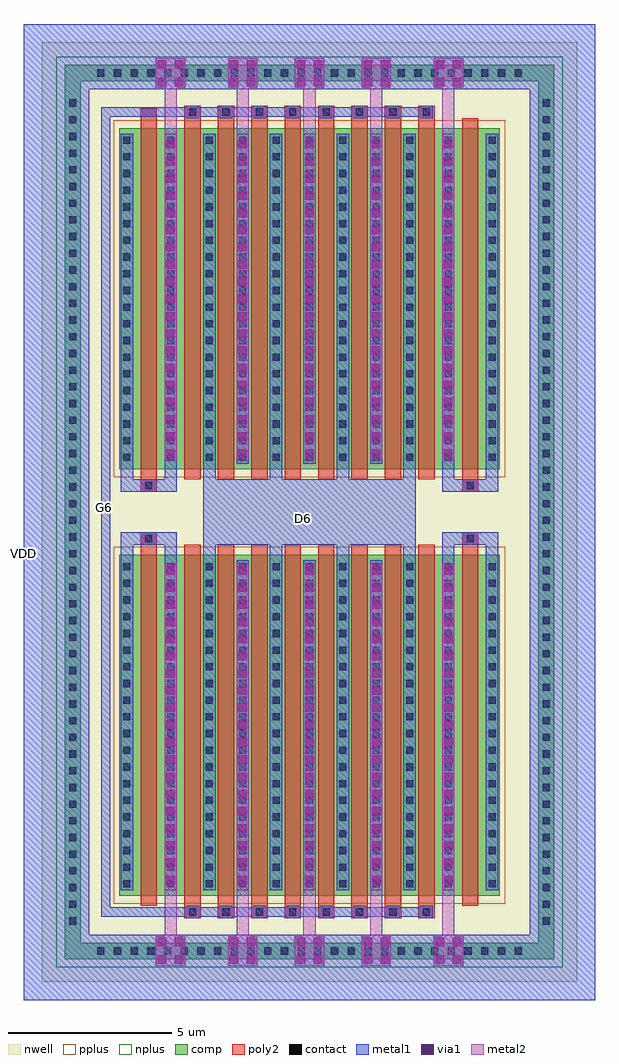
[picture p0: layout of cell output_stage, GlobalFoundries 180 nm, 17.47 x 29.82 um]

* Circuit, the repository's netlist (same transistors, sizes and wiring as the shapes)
** sch_path: /foss/designs/creactive-chipathon-2025/designs/libs/core_ota/output_stage/output_stage.sch
.subckt output_stage D6 VDD G6
*.PININFO VDD:B G6:I D6:O
M6 D6 G6 VDD VDD pfet_03v3 L=0.5u W=10.43u nf=1 m=16
M1 VDD VDD VDD VDD pfet_03v3 L=0.5u W=10.43u nf=1 m=4
.ends

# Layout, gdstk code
import gdstk
lib = gdstk.Library(unit=1e-6, precision=5e-09)
def R(c, l, rs):  # rectangles x0, y0, x1, y1
    for r in rs: c.add(gdstk.rectangle(r[:2], r[2:], *l))
def A(c, l, x, y, w, h, nx, ny, dx, dy):  # array of equal rectangles
    R(c, l, [(x+i*dx, y+j*dy, x+i*dx+w, y+j*dy+h) for i in range(nx) for j in range(ny)])
nwell = (21, 0)
comp = (22, 0)
poly2 = (30, 0)
pplus = (31, 0)
nplus = (32, 0)
contact = (33, 0)
metal1 = (34, 0)
via1 = (35, 0)
metal2 = (36, 0)

pfet_2 = lib.new_cell('pfet$2')
R(pfet_2, nwell, [(-0.9,-0.44,1.78,10.87)])
R(pfet_2, comp, [(-0.46,0,0,10.43), (0,0,0.88,10.43), (0.88,0,1.34,10.43)])
R(pfet_2, poly2, [(0.19,-0.3,0.69,10.73), (0.19,10.73,0.69,11.11)])
R(pfet_2, pplus, [(-0.63,-0.24,1.51,10.67)])
A(pfet_2, contact, -0.34, 0.26, 0.22, 0.22, 1, 20, 0, 0.51)
A(pfet_2, contact, 1, 0.26, 0.22, 0.22, 1, 20, 0, 0.51)
R(pfet_2, contact, [(0.33,10.81,0.55,11.03)])
R(pfet_2, metal1, [(-0.42,0.18,-0.04,10.25), (0.92,0.18,1.3,10.25), (0.25,10.73,0.63,11.11)])

pfet_1 = lib.new_cell('pfet$1')
R(pfet_1, nwell, [(-0.9,-0.44,8.92,10.87)])
R(pfet_1, comp, [(-0.46,0,0,10.43), (0,0,8.02,10.43), (8.02,0,8.48,10.43)])
A(pfet_1, poly2, 0.19, -0.3, 0.5, 11.03, 8, 1, 1.02, 0)
A(pfet_1, poly2, 0.19, 10.73, 0.5, 0.38, 8, 1, 1.02, 0)
R(pfet_1, pplus, [(-0.63,-0.24,8.65,10.67)])
A(pfet_1, contact, -0.34, 0.26, 0.22, 0.22, 1, 20, 0, 0.51)
A(pfet_1, contact, 0.84, 0.26, 0.22, 0.22, 7, 20, 1.02, 0.51)
A(pfet_1, contact, 8.14, 0.26, 0.22, 0.22, 1, 20, 0, 0.51)
A(pfet_1, contact, 0.33, 10.81, 0.22, 0.22, 8, 1, 1.02, 0)
A(pfet_1, metal1, 0.76, 0.18, 0.38, 10.07, 7, 1, 1.02, 0)
A(pfet_1, metal1, 0.25, 10.73, 0.38, 0.38, 8, 1, 1.02, 0)
R(pfet_1, metal1, [(-0.42,0.18,-0.04,10.25), (8.06,0.18,8.44,10.25)])

output_stage = lib.new_cell('output_stage')
R(output_stage, nwell, [(0.56,0.56,16.91,29.26)])
R(output_stage, poly2, [(3.575,26.94,4.075,27.25)])
A(output_stage, contact, 2.25, 1.39, 0.22, 0.22, 26, 2, 0.51, 26.82)
A(output_stage, contact, 1.39, 2.305, 0.22, 0.22, 1, 50, 0, 0.51)
A(output_stage, contact, 15.86, 2.305, 0.22, 0.22, 1, 50, 0, 0.51)
A(output_stage, via1, 6.565, 3.54, 0.26, 0.26, 3, 2, 2.04, 0.535)
A(output_stage, via1, 4.365, 4.075, 0.26, 0.26, 1, 3, 0, 0.52)
A(output_stage, via1, 12.845, 4.075, 0.26, 0.26, 1, 3, 0, 0.52)
A(output_stage, via1, 6.565, 4.595, 0.26, 0.26, 3, 2, 2.04, 0.52)
A(output_stage, via1, 4.365, 5.65, 0.26, 0.26, 1, 3, 0, 0.52)
A(output_stage, via1, 6.565, 5.65, 0.26, 0.26, 3, 3, 2.04, 0.52)
A(output_stage, via1, 12.845, 5.65, 0.26, 0.26, 1, 3, 0, 0.52)
A(output_stage, via1, 4.365, 7.225, 0.26, 0.26, 1, 3, 0, 0.52)
A(output_stage, via1, 6.565, 7.225, 0.26, 0.26, 3, 3, 2.04, 0.52)
A(output_stage, via1, 12.845, 7.225, 0.26, 0.26, 1, 3, 0, 0.52)
A(output_stage, via1, 4.365, 8.8, 0.26, 0.26, 1, 3, 0, 0.52)
A(output_stage, via1, 6.565, 8.8, 0.26, 0.26, 3, 3, 2.04, 0.52)
A(output_stage, via1, 12.845, 8.8, 0.26, 0.26, 1, 3, 0, 0.52)
A(output_stage, via1, 4.365, 10.375, 0.26, 0.26, 1, 3, 0, 0.52)
A(output_stage, via1, 6.565, 10.375, 0.26, 0.26, 3, 3, 2.04, 0.52)
A(output_stage, via1, 12.845, 10.375, 0.26, 0.26, 1, 3, 0, 0.52)
A(output_stage, via1, 4.365, 11.95, 0.26, 0.26, 1, 3, 0, 0.52)
A(output_stage, via1, 6.565, 11.95, 0.26, 0.26, 3, 3, 2.04, 0.52)
A(output_stage, via1, 12.845, 11.95, 0.26, 0.26, 1, 3, 0, 0.52)
A(output_stage, via1, 4.36, 16.57, 0.26, 0.26, 1, 3, 0, 0.52)
A(output_stage, via1, 6.56, 16.57, 0.26, 0.26, 3, 3, 2.04, 0.52)
A(output_stage, via1, 12.84, 16.57, 0.26, 0.26, 1, 3, 0, 0.52)
A(output_stage, via1, 4.36, 18.145, 0.26, 0.26, 1, 3, 0, 0.52)
A(output_stage, via1, 6.56, 18.145, 0.26, 0.26, 3, 3, 2.04, 0.52)
A(output_stage, via1, 12.84, 18.145, 0.26, 0.26, 1, 3, 0, 0.52)
A(output_stage, via1, 4.36, 19.72, 0.26, 0.26, 1, 3, 0, 0.52)
A(output_stage, via1, 6.56, 19.72, 0.26, 0.26, 3, 3, 2.04, 0.52)
A(output_stage, via1, 12.84, 19.72, 0.26, 0.26, 1, 3, 0, 0.52)
A(output_stage, via1, 4.36, 21.295, 0.26, 0.26, 1, 3, 0, 0.52)
A(output_stage, via1, 6.56, 21.295, 0.26, 0.26, 3, 3, 2.04, 0.52)
A(output_stage, via1, 12.84, 21.295, 0.26, 0.26, 1, 3, 0, 0.52)
A(output_stage, via1, 4.36, 22.87, 0.26, 0.26, 1, 3, 0, 0.52)
A(output_stage, via1, 6.56, 22.87, 0.26, 0.26, 3, 3, 2.04, 0.52)
A(output_stage, via1, 12.84, 22.87, 0.26, 0.26, 1, 3, 0, 0.52)
A(output_stage, via1, 4.36, 24.445, 0.26, 0.26, 1, 3, 0, 0.52)
A(output_stage, via1, 6.56, 24.445, 0.26, 0.26, 3, 3, 2.04, 0.52)
A(output_stage, via1, 12.84, 24.445, 0.26, 0.26, 1, 3, 0, 0.52)
A(output_stage, via1, 6.56, 26.02, 0.26, 0.26, 3, 1, 2.04, 0)
R(output_stage, via1, [(4.105,1.105,4.365,1.365), (4.625,1.105,4.885,1.365), (6.305,1.105,6.565,1.365), (6.305,1.105,6.565,1.365), (6.825,1.105,7.085,1.365), (6.825,1.105,7.085,1.365), (8.345,1.105,8.605,1.365), (8.345,1.105,8.605,1.365), (8.865,1.105,9.125,1.365), (8.865,1.105,9.125,1.365), (10.385,1.105,10.645,1.365), (10.385,1.105,10.645,1.365), (10.905,1.105,11.165,1.365), (10.905,1.105,11.165,1.365), (12.585,1.105,12.845,1.365), (12.585,1.105,12.845,1.365), (13.105,1.105,13.365,1.365), (13.105,1.105,13.365,1.365), (4.105,1.635,4.365,1.895), (4.625,1.635,4.885,1.895), (6.305,1.635,6.565,1.895), (6.305,1.635,6.565,1.895), (6.825,1.635,7.085,1.895), (6.825,1.635,7.085,1.895), (8.345,1.635,8.605,1.895), (8.345,1.635,8.605,1.895), (8.865,1.635,9.125,1.895), (8.865,1.635,9.125,1.895), (10.385,1.635,10.645,1.895), (10.385,1.635,10.645,1.895), (10.905,1.635,11.165,1.895), (10.905,1.635,11.165,1.895), (12.585,1.635,12.845,1.895), (12.585,1.635,12.845,1.895), (13.105,1.635,13.365,1.895), (13.105,1.635,13.365,1.895), (4.365,3.54,4.625,3.8), (12.845,3.54,13.105,3.8), (4.36,26.02,4.62,26.28), (12.84,26.02,13.1,26.28), (4.105,27.925,4.365,28.185), (4.105,27.925,4.365,28.185), (4.625,27.925,4.885,28.185), (4.625,27.925,4.885,28.185), (6.305,27.925,6.565,28.185), (6.305,27.925,6.565,28.185), (6.825,27.925,7.085,28.185), (6.825,27.925,7.085,28.185), (8.345,27.925,8.605,28.185), (8.345,27.925,8.605,28.185), (8.865,27.925,9.125,28.185), (8.865,27.925,9.125,28.185), (10.385,27.925,10.645,28.185), (10.385,27.925,10.645,28.185), (10.905,27.925,11.165,28.185), (10.905,27.925,11.165,28.185), (12.585,27.925,12.845,28.185), (12.585,27.925,12.845,28.185), (13.105,27.925,13.365,28.185), (13.105,27.925,13.365,28.185), (4.105,28.455,4.365,28.715), (4.105,28.455,4.365,28.715), (4.625,28.455,4.885,28.715), (4.625,28.455,4.885,28.715), (6.305,28.455,6.565,28.715), (6.305,28.455,6.565,28.715), (6.825,28.455,7.085,28.715), (6.825,28.455,7.085,28.715), (8.345,28.455,8.605,28.715), (8.345,28.455,8.605,28.715), (8.865,28.455,9.125,28.715), (8.865,28.455,9.125,28.715), (10.385,28.455,10.645,28.715), (10.385,28.455,10.645,28.715), (10.905,28.455,11.165,28.715), (10.905,28.455,11.165,28.715), (12.585,28.455,12.845,28.715), (12.585,28.455,12.845,28.715), (13.105,28.455,13.365,28.715), (13.105,28.455,13.365,28.715)])
A(output_stage, metal2, 6.245, 1.045, 0.9, 0.91, 3, 2, 2.04, 26.82)
A(output_stage, metal2, 6.295, 1.095, 0.8, 0.81, 3, 2, 2.04, 26.82)
R(output_stage, metal2, [(4.045,1.045,4.945,1.955), (12.525,1.045,13.425,1.955), (12.575,1.095,13.375,1.905), (4.045,27.865,4.945,28.775), (12.525,27.865,13.425,28.775), (4.095,27.915,4.895,28.725), (12.575,27.915,13.375,28.725)])
output_stage.add(gdstk.FlexPath([(3.155,16.39),(3.155,15.72),(4.495,15.72),(4.495,16.39)], 0.38, ends="flush", simple_path=True, layer=34, datatype=0))  # metal1
output_stage.add(gdstk.FlexPath([(3.155,13.43),(3.155,14.1),(4.495,14.1),(4.495,13.43)], 0.38, ends="flush", simple_path=True, layer=34, datatype=0))  # metal1
output_stage.add(gdstk.FlexPath([(12.975,16.39),(12.975,15.72),(14.315,15.72),(14.315,16.39)], 0.38, ends="flush", simple_path=True, layer=34, datatype=0))  # metal1
output_stage.add(gdstk.FlexPath([(12.975,13.43),(12.975,14.1),(14.315,14.1),(14.315,13.43)], 0.38, ends="flush", simple_path=True, layer=34, datatype=0))  # metal1
output_stage.add(gdstk.FlexPath([(2,28.82),(16.47,28.82),(16.47,1),(1,1),(1,29.82)], 2, ends="flush", simple_path=True, layer=34, datatype=0))  # metal1
output_stage.add(gdstk.FlexPath([(12.495,27.13),(2.505,27.13),(2.505,2.69),(12.415,2.69)], 0.28, ends="flush", simple_path=True, layer=34, datatype=0))  # metal1
output_stage.add(gdstk.FlexPath([(7.715,15.91),(7.715,16.39)], 0.38, ends="flush", simple_path=True, layer=34, datatype=0))  # metal1
output_stage.add(gdstk.FlexPath([(11.795,15.91),(11.795,16.39)], 0.38, ends="flush", simple_path=True, layer=34, datatype=0))  # metal1
output_stage.add(gdstk.FlexPath([(5.675,15.91),(5.675,16.39)], 0.38, ends="flush", simple_path=True, layer=34, datatype=0))  # metal1
output_stage.add(gdstk.FlexPath([(9.755,15.91),(9.755,16.39)], 0.38, ends="flush", simple_path=True, layer=34, datatype=0))  # metal1
output_stage.add(gdstk.FlexPath([(7.715,13.43),(7.715,13.91)], 0.38, ends="flush", simple_path=True, layer=34, datatype=0))  # metal1
output_stage.add(gdstk.FlexPath([(11.795,13.43),(11.795,13.91)], 0.38, ends="flush", simple_path=True, layer=34, datatype=0))  # metal1
output_stage.add(gdstk.FlexPath([(5.675,13.43),(5.675,13.91)], 0.38, ends="flush", simple_path=True, layer=34, datatype=0))  # metal1
output_stage.add(gdstk.FlexPath([(9.755,13.43),(9.755,13.91)], 0.38, ends="flush", simple_path=True, layer=34, datatype=0))  # metal1
output_stage.add(gdstk.FlexPath([(5.485,14.91),(11.985,14.91)], 2, ends="flush", simple_path=True, layer=34, datatype=0))  # metal1
output_stage.add(gdstk.FlexPath([(1.75,28.32),(15.97,28.32),(15.97,1.5),(1.5,1.5),(1.5,28.57)], 0.5, ends="flush", simple_path=True, layer=22, datatype=0))  # comp
output_stage.add(gdstk.FlexPath([(2,28.32),(15.97,28.32),(15.97,1.5),(1.5,1.5),(1.5,28.82)], 1, ends="flush", simple_path=True, layer=32, datatype=0))  # nplus
output_stage.add(gdstk.FlexPath([(4.495,13.33),(4.495,1.955)], 0.38, ends="flush", simple_path=True, layer=36, datatype=0))  # metal2
output_stage.add(gdstk.FlexPath([(12.975,13.33),(12.975,1.905)], 0.38, ends="flush", simple_path=True, layer=36, datatype=0))  # metal2
output_stage.add(gdstk.FlexPath([(10.775,13.33),(10.775,1.905)], 0.38, ends="flush", simple_path=True, layer=36, datatype=0))  # metal2
output_stage.add(gdstk.FlexPath([(12.975,27.915),(12.975,16.49)], 0.38, ends="flush", simple_path=True, layer=36, datatype=0))  # metal2
output_stage.add(gdstk.FlexPath([(6.695,13.33),(6.695,1.905)], 0.38, ends="flush", simple_path=True, layer=36, datatype=0))  # metal2
output_stage.add(gdstk.FlexPath([(8.735,13.33),(8.735,1.905)], 0.38, ends="flush", simple_path=True, layer=36, datatype=0))  # metal2
output_stage.add(gdstk.FlexPath([(10.775,27.915),(10.775,16.49)], 0.38, ends="flush", simple_path=True, layer=36, datatype=0))  # metal2
output_stage.add(gdstk.FlexPath([(4.495,27.915),(4.495,16.49)], 0.38, ends="flush", simple_path=True, layer=36, datatype=0))  # metal2
output_stage.add(gdstk.FlexPath([(6.695,27.915),(6.695,16.49)], 0.38, ends="flush", simple_path=True, layer=36, datatype=0))  # metal2
output_stage.add(gdstk.FlexPath([(8.735,27.915),(8.735,16.49)], 0.38, ends="flush", simple_path=True, layer=36, datatype=0))  # metal2
output_stage.add(gdstk.Reference(pfet_2, (3.385,3.18)))
output_stage.add(gdstk.Reference(pfet_1, (4.725,13.61), x_reflection=True))
output_stage.add(gdstk.Reference(pfet_2, (13.205,3.18)))
output_stage.add(gdstk.Reference(pfet_2, (3.385,26.64), x_reflection=True))
output_stage.add(gdstk.Reference(pfet_2, (13.205,26.64), x_reflection=True))
output_stage.add(gdstk.Reference(pfet_1, (4.725,16.21)))
output_stage.add(gdstk.Label('G6', (2.475,15.045), layer=34, texttype=10))
output_stage.add(gdstk.Label('D6', (8.56,14.71), layer=34, texttype=10))
output_stage.add(gdstk.Label('VDD', (0,13.65), layer=34, texttype=10))

lib.write_gds('output_stage.gds')
